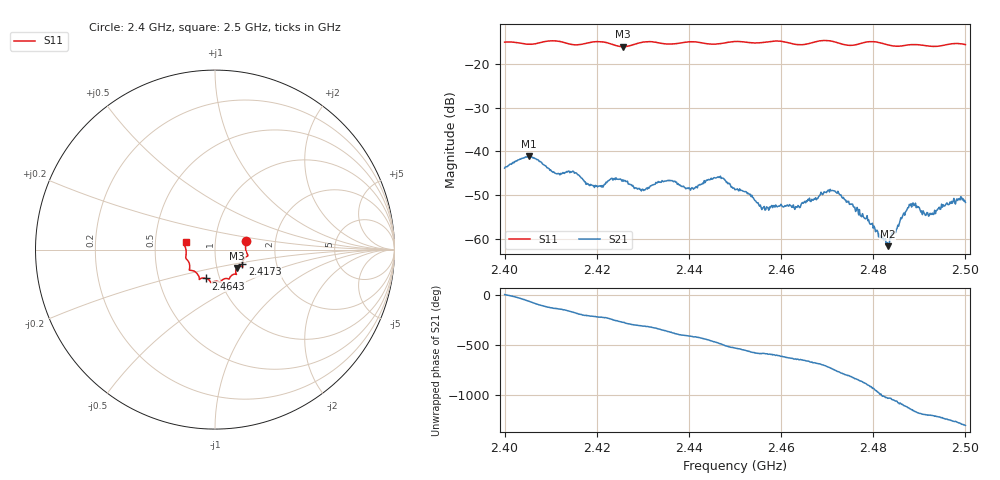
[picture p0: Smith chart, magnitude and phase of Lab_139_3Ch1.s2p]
# Hz S RI R 50
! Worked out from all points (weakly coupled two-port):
!   601 points, 2.4 GHz to 2.5 GHz, reference 50 ohm
!   highest |S21| = -41.11 dB at 2.4053 GHz (marker M1); lowest = -61.8 dB at 2.4832 GHz (marker M2)
!   lowest |S11| = -15.9 dB at 2.4257 GHz (marker M3), VSWR 1.38, Z = 62.4 - j13.1 ohm
!   |S11| at or under -10 dB: start of sweep to end of sweep
!   S12 and S22 are empty: the file has one direction only
!   S11 on the Smith chart (normalised r, x): 2.4 GHz: 1.41, +0.15; 2.4173 GHz: 1.34, -0.23; 2.4643 GHz: 0.86, -0.28; 2.5 GHz: 0.72, +0.06
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2.4e9  0.1732 0.0498  0.0064 0.000691  0 0  0 0
2.405333e9  0.17 0.00944  0.00422 -0.00772  0 0  0 0
2.410833e9  0.1835 -0.0343  -0.00379 -0.00424  0 0  0 0
2.416667e9  0.1528 -0.0746  -0.0048 0.00119  0 0  0 0
2.417333e9  0.1522 -0.082  -0.00414 0.00174  0 0  0 0
2.420833e9  0.1547 -0.0964  -0.00303 0.00266  0 0  0 0
2.425667e9  0.1225 -0.1022  0.000172 0.00473  0 0  0 0
2.43e9  0.118 -0.1363  0.00237 0.00282  0 0  0 0
2.433333e9  0.1127 -0.1367  0.00419 0.00172  0 0  0 0
2.440833e9  0.0784 -0.1646  0.00212 -0.00314  0 0  0 0
2.446667e9  0.0426 -0.1677  -0.00295 -0.00408  0 0  0 0
2.45e9  0.0298 -0.181  -0.00358 -0.000594  0 0  0 0
2.456167e9  -0.00798 -0.1788  -0.00168 0.00153  0 0  0 0
2.464333e9  -0.0502 -0.1606  0.000694 0.00235  0 0  0 0
2.466667e9  -0.0763 -0.1599  0.00177 0.00221  0 0  0 0
2.472e9  -0.0877 -0.1562  0.00269 -0.00204  0 0  0 0
2.483167e9  -0.1405 -0.0914  0.000564 0.000591  0 0  0 0
2.483333e9  -0.1408 -0.0896  0.000572 0.000656  0 0  0 0
2.488167e9  -0.1611 -0.0498  0.00121 -0.00219  0 0  0 0
2.4925e9  -0.1604 -0.0195  -0.00105 -0.00158  0 0  0 0
2.498667e9  -0.1697 0.0348  -0.00272 0.000916  0 0  0 0
2.5e9  -0.1636 0.0419  -0.00185 0.00183  0 0  0 0
